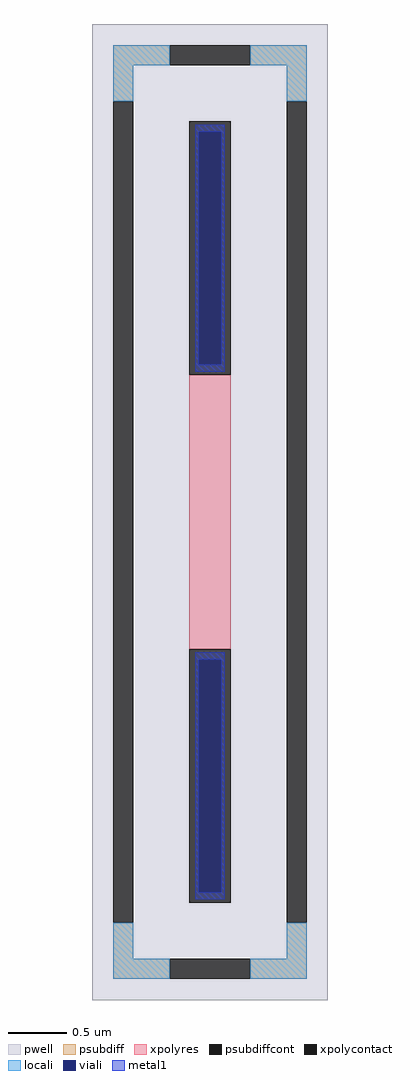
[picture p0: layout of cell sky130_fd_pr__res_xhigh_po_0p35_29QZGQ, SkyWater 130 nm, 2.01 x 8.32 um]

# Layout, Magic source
magic
tech sky130A
magscale 1 2
<< pwell >>
rect -201 -832 201 832
<< psubdiff >>
rect -165 762 -69 796
rect 69 762 165 796
rect -165 700 -131 762
rect 131 700 165 762
rect -165 -762 -131 -700
rect 131 -762 165 -700
rect -165 -796 -69 -762
rect 69 -796 165 -762
<< psubdiffcont >>
rect -69 762 69 796
rect -165 -700 -131 700
rect 131 -700 165 700
rect -69 -796 69 -762
<< xpolycontact >>
rect -35 234 35 666
rect -35 -666 35 -234
<< xpolyres >>
rect -35 -234 35 234
<< locali >>
rect -165 762 -69 796
rect 69 762 165 796
rect -165 700 -131 762
rect 131 700 165 762
rect -165 -762 -131 -700
rect 131 -762 165 -700
rect -165 -796 -69 -762
rect 69 -796 165 -762
<< viali >>
rect -19 251 19 648
rect -19 -648 19 -251
<< metal1 >>
rect -25 648 25 660
rect -25 251 -19 648
rect 19 251 25 648
rect -25 239 25 251
rect -25 -251 25 -239
rect -25 -648 -19 -251
rect 19 -648 25 -251
rect -25 -660 25 -648
<< properties >>
string FIXED_BBOX -148 -779 148 779
string gencell sky130_fd_pr__res_xhigh_po_0p35
string library sky130
string parameters w 0.35 l 2.5 m 1 nx 1 wmin 0.350 lmin 0.50 rho 2000 val 15.361k dummy 0 dw 0.0 term 188.2 sterm 0.0 caplen 0 wmax 0.350 guard 1 glc 1 grc 1 gtc 1 gbc 1 compatible {sky130_fd_pr__res_xhigh_po_0p35  sky130_fd_pr__res_xhigh_po_0p69 sky130_fd_pr__res_xhigh_po_1p41  sky130_fd_pr__res_xhigh_po_2p85 sky130_fd_pr__res_xhigh_po_5p73} snake 0 full_metal 1 n_guard 0 hv_guard 0 vias 1 viagb 0 viagt 0 viagl 0 viagr 0
<< end >>
